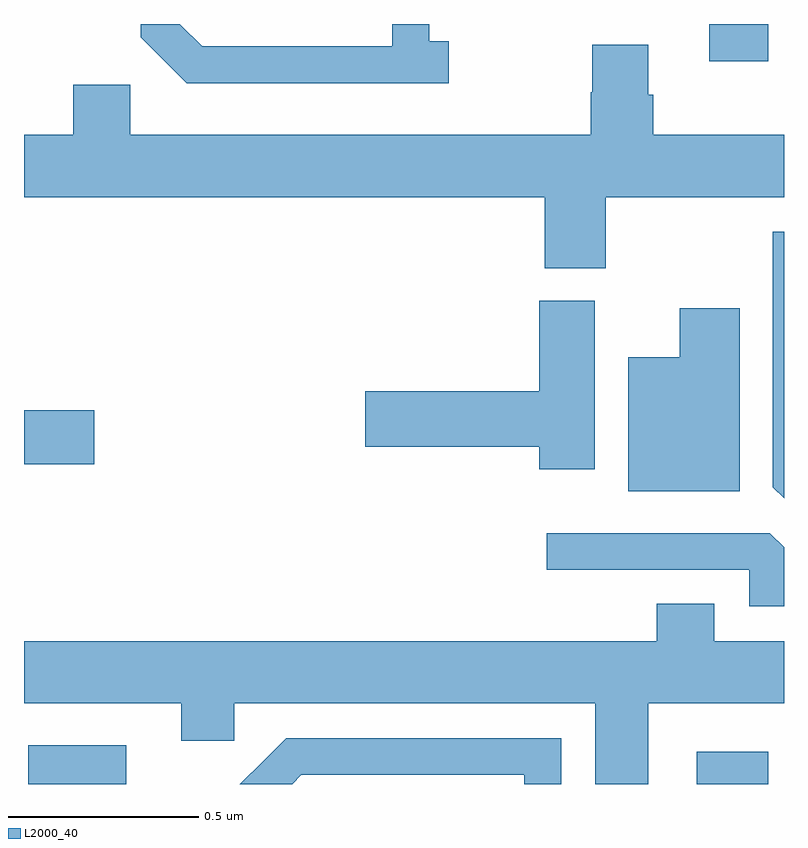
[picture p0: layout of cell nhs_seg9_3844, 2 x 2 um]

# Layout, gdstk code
import gdstk
lib = gdstk.Library(unit=1e-6, precision=1e-09)
def R(c, l, rs):  # rectangles x0, y0, x1, y1
    for r in rs: c.add(gdstk.rectangle(r[:2], r[2:], *l))
def P(c, l, *ps):  # polygons
    for p in ps: c.add(gdstk.Polygon(p, *l))
L2000_40 = (2000, 40)

nhs_seg9_3844 = lib.new_cell('nhs_seg9_3844')
R(nhs_seg9_3844, L2000_40, [(158.011,1237.5,158.269,1237.602), (159.771,1237.5,159.959,1237.585), (158,1238.341,158.185,1238.483), (159.803,1239.402,159.959,1239.5)])
P(nhs_seg9_3844, L2000_40, [(159.118,1239.454),(159.066,1239.454),(159.066,1239.5),(158.969,1239.5),(158.969,1239.441),(158.469,1239.441),(158.41,1239.5),(158.307,1239.5),(158.307,1239.465),(158.428,1239.344),(159.118,1239.344)],
  [(159.531,1239.044),(160,1239.044),(160,1239.208),(159.656,1239.208),(159.656,1239.314),(159.643,1239.314),(159.643,1239.446),(159.496,1239.446),(159.496,1239.321),(159.491,1239.321),(159.491,1239.208),(158.28,1239.208),(158.28,1239.34),(158.129,1239.34),(158.129,1239.208),(158,1239.208),(158,1239.044),(159.371,1239.044),(159.371,1238.857),(159.531,1238.857)],
  [(160,1238.953),(159.971,1238.953),(159.971,1238.281),(160,1238.252)],
  [(159.502,1238.772),(159.356,1238.772),(159.356,1238.534),(158.898,1238.534),(158.898,1238.387),(159.356,1238.387),(159.356,1238.328),(159.502,1238.328)],
  [(159.883,1238.752),(159.725,1238.752),(159.725,1238.623),(159.59,1238.623),(159.59,1238.27),(159.883,1238.27)],
  [(160,1238.123),(159.963,1238.16),(159.375,1238.16),(159.375,1238.064),(159.909,1238.064),(159.909,1237.968),(160,1237.968)],
  [(159.643,1237.712),(160,1237.712),(160,1237.876),(159.817,1237.876),(159.817,1237.975),(159.665,1237.975),(159.665,1237.876),(158,1237.876),(158,1237.712),(158.414,1237.712),(158.414,1237.614),(158.553,1237.614),(158.553,1237.712),(159.503,1237.712),(159.503,1237.5),(159.643,1237.5)],
  [(158.73,1237.524),(159.317,1237.524),(159.317,1237.5),(159.414,1237.5),(159.414,1237.62),(158.69,1237.62),(158.599,1237.529),(158.598,1237.53),(158.568,1237.5),(158.706,1237.5)])

lib.write_gds('nhs_seg9_3844.gds')
